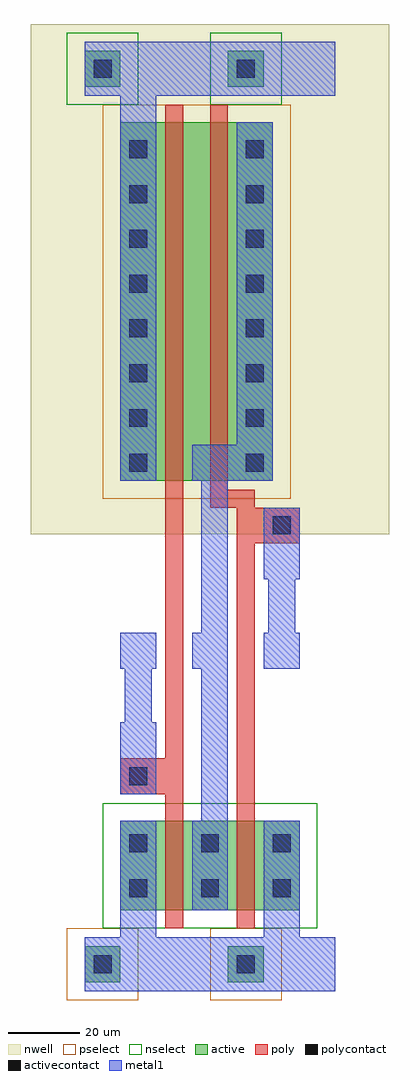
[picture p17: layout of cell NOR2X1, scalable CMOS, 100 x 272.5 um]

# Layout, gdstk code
import gdstk
lib = gdstk.Library(unit=1e-6, precision=1e-09)
def R(c, l, rs):  # rectangles x0, y0, x1, y1
    for r in rs: c.add(gdstk.rectangle(r[:2], r[2:], *l))
def A(c, l, x, y, w, h, nx, ny, dx, dy):  # array of equal rectangles
    R(c, l, [(x+i*dx, y+j*dy, x+i*dx+w, y+j*dy+h) for i in range(nx) for j in range(ny)])
nwell = (42, 0)
active = (43, 0)
pselect = (44, 0)
nselect = (45, 0)
poly = (46, 0)
polycontact = (47, 0)
activecontact = (48, 0)
metal1 = (49, 0)

nor2x1 = lib.new_cell('NOR2X1')
R(nor2x1, nwell, [(-20,120,80,262.5)])
R(nor2x1, active, [(-5,-5,5,5), (35,-5,45,5), (5,15,55,40), (5,135,47.5,235), (-5,245,5,255), (35,245,45,255)])
R(nor2x1, pselect, [(-10,-10,10,10), (30,-10,50,10), (0,130,52.5,240)])
R(nor2x1, nselect, [(0,10,60,45), (-10,240,10,260), (30,240,50,260)])
R(nor2x1, poly, [(17.5,10,22.5,47.5), (37.5,10,42.5,117.5), (5,47.5,22.5,57.5), (17.5,57.5,22.5,240), (37.5,117.5,55,127.5), (30,127.5,42.5,132.5), (30,132.5,35,240)])
R(nor2x1, polycontact, [(7.5,50,12.5,55), (47.5,120,52.5,125)])
A(nor2x1, activecontact, 7.5, 18.75, 5, 5, 3, 2, 20, 12.5)
A(nor2x1, activecontact, 7.5, 137.5, 5, 5, 1, 8, 0, 12.5)
A(nor2x1, activecontact, 40, 137.5, 5, 5, 1, 8, 0, 12.5)
R(nor2x1, activecontact, [(-2.5,-2.5,2.5,2.5), (37.5,-2.5,42.5,2.5), (-2.5,247.5,2.5,252.5), (37.5,247.5,42.5,252.5)])
A(nor2x1, metal1, 5, 82.5, 10, 10, 3, 1, 20, 0)
R(nor2x1, metal1, [(-5,-7.5,65,7.5), (5,7.5,15,40), (45,7.5,55,40), (25,15,35,40), (27.5,40,35,82.5), (5,47.5,15,67.5), (6.25,58.75,13.75,91.25), (46.25,83.75,53.75,116.25), (27.5,92.5,35,135), (45,107.5,55,127.5), (5,135,15,242.5), (25,135,47.5,145), (37.5,145,47.5,235), (-5,242.5,65,257.5)])

lib.write_gds('NOR2X1.gds')
